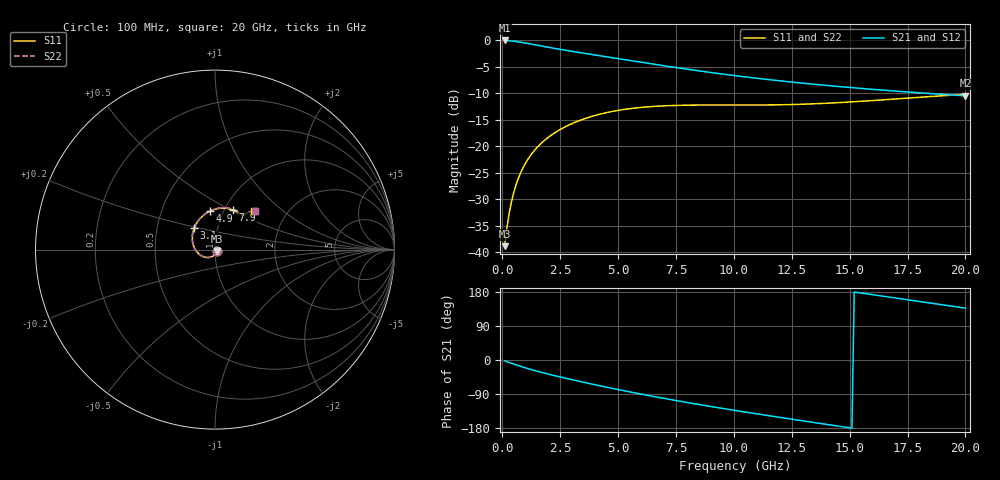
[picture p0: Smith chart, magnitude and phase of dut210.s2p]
! Touchstone file exported from HFSS 2023.1.0
!  File:  D:/Users/fzz/RDL_TSV/temp_RDL_TSV_210_1778756947.aedt
!  Generated:  7:17:40 %x4E0B%x5348  5%x6708 14, 2026
!  Design:  RDL_TSV
!  Project:  temp_RDL_TSV_210_1778756947
!  Setup:  Setup1
!  Solution:  Sweep
! Variables:
!  dtsv = 18.03um
!  hbump = 3um
!  htsv = 74.22um
!  ldown = 222.88um
!  lrdl = 615.94um
!  p = 40
!  p1 = 56.3um
!  rhole = 10um
!  subl = 3132.4um
!  t = 450um
!  tdown = 4.43um
!  trdl = 4.86um
!  viad = 10um
!  wdown = 25.25um
!  wrdl = 28.21um
!  xbump = 18um
# GHz S MA R 50.000000
! Terminal data exported
! Port[1] = TM1_1_T1
! Port[2] = TM1_4_T1
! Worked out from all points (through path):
!   200 points, 100 MHz to 20 GHz, reference 50 ohm
!   highest |S21| = -0.09 dB at 100 MHz (marker M1); lowest = -10.5 dB at 20 GHz (marker M2)
!   group delay of S21, straight-line fit = 29.1 ps
!   lowest |S11| = -38.8 dB at 100 MHz (marker M3), VSWR 1.02, Z = 50.9 - j0.763 ohm
!   |S11| at or under -10 dB: start of sweep to end of sweep
!   |S22| runs from -38.9 to -10.2 dB; largest |S21 - S12| = 7.5e-15
!   S11 on the Smith chart (normalised r, x): 100 MHz: 1.02, -0.02; 3.1 GHz: 0.77, +0.19; 4.9 GHz: 0.86, +0.39; 7.9 GHz: 1.09, +0.52; 20 GHz: 1.38, +0.66
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0.1  0.01142 -41.0  0.9898 -2.3  0.9898 -2.3  0.01142 -41.1
! Gamma 0 0 0 0
! Port Impedance 50 0 50 0
0.2  0.01707 -68.4  0.987 -4.5  0.987 -4.5  0.01706 -68.4
0.3  0.02352 -84.7  0.9831 -6.7  0.9831 -6.7  0.0235 -84.8
0.4  0.0302 -96.5  0.9783 -8.8  0.9783 -8.8  0.03019 -96.5
0.5  0.03692 -106.1  0.9727 -10.9  0.9727 -10.9  0.03691 -106.2
0.7  0.05014 -122.0  0.9594 -15.0  0.9594 -15.0  0.05015 -122.1
1  0.06894 -141.8  0.9357 -20.7  0.9357 -20.7  0.06899 -141.9
1.4  0.09176 -163.7  0.9015 -27.8  0.9015 -27.8  0.09192 -163.9
1.8  0.1122 177.8  0.8682 -34.3  0.8682 -34.3  0.1125 177.7
2.4  0.1393 155.2  0.8228 -43.3  0.8228 -43.3  0.1399 155.0
3.1  0.1663 134.4  0.7762 -53.2  0.7762 -53.2  0.1672 134.3
3.5  0.1797 124.5  0.7516 -58.6  0.7516 -58.6  0.1808 124.4
4.9  0.2152 97.9  0.6728 -76.8  0.6728 -76.8  0.217 97.8
5.9  0.2306 84.2  0.6218 -88.9  0.6218 -88.9  0.2327 84.1
6.8  0.2386 74.7  0.5799 -99.3  0.5799 -99.3  0.2409 74.6
7.9  0.243 65.9  0.5341 -111.3  0.5341 -111.3  0.2455 65.7
9  0.244 59.6  0.4942 -122.6  0.4942 -122.6  0.2466 59.4
10.1  0.2438 55.4  0.46 -133.5  0.46 -133.5  0.2464 55.2
11.7  0.2447 51.8  0.4187 -148.8  0.4187 -148.8  0.2473 51.6
13.4  0.2502 50.2  0.3837 -164.4  0.3837 -164.4  0.2526 49.9
16.7  0.2754 48.2  0.3335 166.0  0.3335 166.0  0.2775 47.9
20  0.3077 44.5  0.2978 136.9  0.2978 136.9  0.3096 44.3
